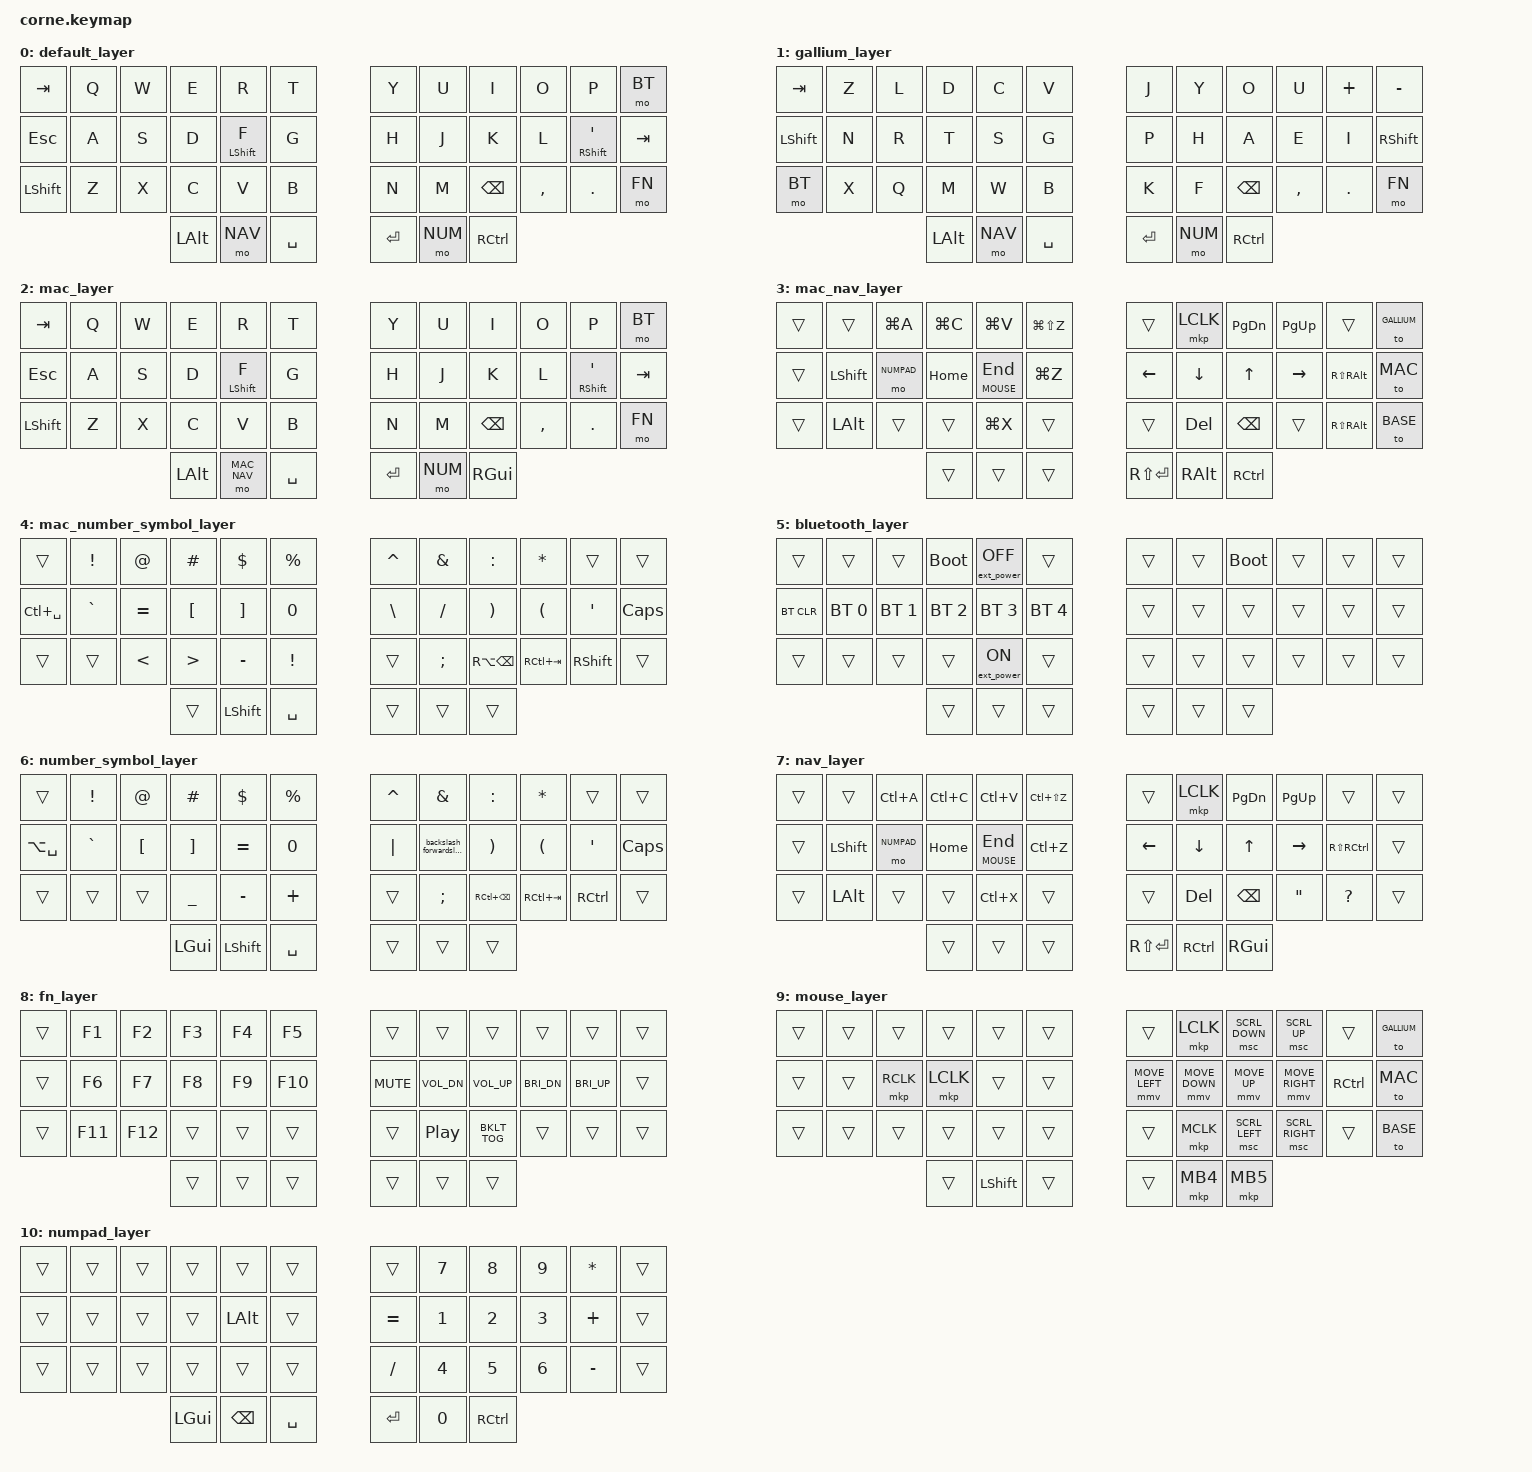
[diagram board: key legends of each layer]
/*
 * Copyright (c) 2020 The ZMK Contributors
 *
 * SPDX-License-Identifier: MIT
 */

#include <behaviors.dtsi>
#include <dt-bindings/zmk/keys.h>
#include <dt-bindings/zmk/bt.h>
#include <dt-bindings/zmk/mouse.h>
#include <dt-bindings/zmk/ext_power.h>

#define ZMK_POINTING_DEFAULT_MOVE_VAL 1000
#define ZMK_POINTING_DEFAULT_SCRL_VAL 20    // default: 10

#include <dt-bindings/zmk/pointing.h>

#define  BASE     0
#define  GALLIUM  1
#define  MAC      2
#define  MAC_NAV  3
#define  MAC_NUM  4
#define  BT       5
#define  NUM      6
#define  NAV      7
#define  FN       8
#define  MOUSE    9
#define  NUMPAD   10


/ {

        behaviors {
                hmt: homerow_mod_tap {
                        compatible = "zmk,behavior-hold-tap";
                        #binding-cells = <2>;
                        flavor = "balanced";
                        tapping-term-ms = <200>;
                        quick-tap-ms = <200>;
                        require-prior-idle-ms = <125>;
                        bindings = <&kp>, <&kp>;
                };
                hmt_layer: homerow_mod_tap_layer {
                        compatible = "zmk,behavior-hold-tap";
                        #binding-cells = <2>;
                        flavor = "hold-preferred";
                        tapping-term-ms = <6666>;
                        quick-tap-ms = <200>;
                        require-prior-idle-ms = <125>;
                        bindings = <&kp>, <&kp>;
                };
                mlt: mouse_layer_tap {
                        compatible = "zmk,behavior-hold-tap";
                        #binding-cells = <2>;
                        flavor = "hold-preferred";
                        tapping-term-ms = <200>;
                        quick-tap-ms = <200>;
                        require-prior-idle-ms = <125>;
                        bindings = <&mo>, <&kp>;
                };


                backslash_forwardslash: backslash_forwardslash {
                    compatible = "zmk,behavior-mod-morph";
                    label = "BACKSLASH_FORWARDSLASH";
                    #binding-cells = <0>;
                    bindings = <&kp FSLH>, <&kp BSLH>;
                    mods = <(MOD_LSFT|MOD_RSFT)>;
                };
                /* dqt_sqt: dqt_sqt { */
                /*         compatible = "zmk,behavior-mod-morph"; */
                /*         label = "DQT_SQT"; */
                /*         #binding-cells = <0>; */
                /*         bindings = <&kp DQT>, <&kp SQT>; */
                /*         mods = <(MOD_LSFT|MOD_RSFT)>; */
                /* }; */
           };
        combos {
            compatible = "zmk,combos";

            esc_combo {
                timeout-ms = <80>;
                key-positions = <27 28>;
                layers = <GALLIUM>;
                bindings = <&kp ESC>;
            };
        };



        keymap {
                compatible = "zmk,keymap";

                default_layer {
                        bindings = <
   &kp TAB   &kp Q &kp W &kp E &kp R        &kp T   &kp Y &kp U  &kp I    &kp O     &kp P          &mo BT
   &kp ESC   &kp A &kp S &kp D &hmt LSHFT F &kp G   &kp H &kp J  &kp K    &kp L     &hmt RSHFT SQT &kp TAB
   &kp LSHFT &kp Z &kp X &kp C &kp V        &kp B   &kp N &kp M  &kp BSPC &kp COMMA &kp DOT        &mo FN
                         &kp LALT &mo NAV &kp SPACE   &kp RET &mo NUM &kp RCTRL
                        >;
                };

                gallium_layer {
                        bindings = <
   &kp TAB   &kp Z &kp L &kp D &kp C &kp V   &kp J &kp Y &kp O    &kp U     &kp PLUS  &kp MINUS
   &kp LSHIFT &kp N &kp R &kp T &kp S &kp G   &kp P &kp H &kp A    &kp E     &kp I    &kp RSHFT
   &mo BT &kp X &kp Q &kp M &kp W &kp B   &kp K &kp F &kp BSPC &kp COMMA &kp DOT  &mo FN
                         &kp LALT &mo NAV &kp SPACE   &kp RET &mo NUM &kp RCTRL
                        >;
                };

                mac_layer {
                        bindings = <
   &kp TAB   &kp Q &kp W &kp E &kp R        &kp T   &kp Y &kp U  &kp I    &kp O     &kp P          &mo BT
   &kp ESC   &kp A &kp S &kp D &hmt LSHFT F &kp G   &kp H &kp J  &kp K    &kp L     &hmt RSHFT SQT &kp TAB
   &kp LSHFT &kp Z &kp X &kp C &kp V        &kp B   &kp N &kp M  &kp BSPC &kp COMMA &kp DOT        &mo FN
                         &kp LALT &mo MAC_NAV &kp SPACE   &kp RET &mo NUM &kp RGUI
                        >;
                };

                mac_nav_layer {
                        bindings = <
   &trans &trans &kp LG(A)  &kp LG(C) &kp LG(V) &kp LG(LS(Z))           &trans &mkp LCLK &kp PG_DN &kp PG_UP &trans &to GALLIUM
   &trans &kp LSHIFT &mo NUMPAD     &kp HOME  &mlt MOUSE END   &kp LG(Z)           &kp LEFT &kp DOWN &kp UP &kp RIGHT &kp RS(RALT) &to MAC
   &trans &kp LALT &trans     &trans    &kp LG(X)  &trans       &trans &kp DELETE &kp BSPC &trans &kp RS(RALT) &to BASE
                         &trans &trans &trans                 &kp RS(RET) &kp RALT &kp RCTRL
                        >;
                };

                mac_number_symbol_layer {
                        bindings = <
   &trans &kp EXCL &kp AT    &kp HASH &kp DLLR &kp PRCNT      &kp CARET &kp AMPS &kp COLON &kp STAR    &trans &trans
   &kp LC(SPACE) &kp GRAVE &kp EQUAL    &kp LBKT &kp RBKT &kp N0      &kp BSLH &kp FSLH &kp RPAR &kp LPAR   &kp SQT &kp CAPSLOCK
   &trans &trans &kp LT &kp GT &kp MINUS &kp EXCL          &trans &kp SEMI   &kp RA(BSPC) &kp RC(TAB) &kp RSHIFT &trans
                                  &trans &kp LSHIFT &kp SPACE   &trans &trans &trans
                        >;
                };

                bluetooth_layer {
                        bindings = <
   &trans     &trans       &trans       &bootloader     &ext_power EP_OFF     &trans       &trans &trans &bootloader &trans &trans &trans
   &bt BT_CLR &bt BT_SEL 0 &bt BT_SEL 1 &bt BT_SEL 2 &bt BT_SEL 3   &bt BT_SEL 4 &trans &trans &trans &trans &trans &trans
   &trans     &trans       &trans       &trans       &ext_power EP_ON   &trans       &trans &trans &trans &trans &trans &trans
                                      &trans &trans &trans   &trans &trans &trans
                        >;
                };

                number_symbol_layer {
                        bindings = <
   &trans &kp EXCL &kp AT    &kp HASH &kp DLLR &kp PRCNT      &kp CARET &kp AMPS &kp COLON &kp STAR    &trans &trans
   &kp LA(SPACE) &kp GRAVE &kp LBKT &kp RBKT &kp EQUAL     &kp N0      &kp PIPE &backslash_forwardslash &kp RPAR &kp LPAR     &kp SQT &kp CAPSLOCK
   &trans &trans &trans &kp UNDER &kp MINUS &kp PLUS          &trans &kp SEMI   &kp RC(BSPC) &kp RC(TAB) &kp RCTRL &trans
                                  &kp LGUI &kp LSHIFT &kp SPACE   &trans &trans &trans
                        >;
                };

                nav_layer {
                        bindings = <
   &trans &trans &kp LC(A)  &kp LC(C) &kp LC(V) &kp LC(LS(Z))           &trans &mkp LCLK &kp PG_DN &kp PG_UP &trans &trans
   &trans &kp LSHIFT &mo NUMPAD     &kp HOME  &mlt MOUSE END   &kp LC(Z)           &kp LEFT &kp DOWN &kp UP &kp RIGHT &kp RS(RCTRL)  &trans
   &trans &kp LALT &trans     &trans    &kp LC(X)  &trans       &trans &kp DELETE &kp BSPC &kp DQT &kp QMARK &trans
                         &trans &trans &trans                 &kp RS(RET) &kp RCTRL &kp RGUI
                        >;
                };

                fn_layer {
                        bindings = <
    &trans    &kp F1    &kp F2    &kp F3    &kp F4    &kp F5      &trans     &trans       &trans       &trans       &trans       &trans
    &trans    &kp F6    &kp F7    &kp F8    &kp F9    &kp F10     &kp C_MUTE &kp C_VOL_DN &kp C_VOL_UP &kp C_BRI_DN &kp C_BRI_UP &trans
    &trans    &kp F11   &kp F12   &trans    &trans    &trans      &trans     &kp C_PLAY_PAUSE    &kp C_BKLT_TOG       &trans       &trans       &trans
                                  &trans    &trans    &trans      &trans     &trans       &trans
                        >;
                };

                mouse_layer {
                        bindings = <
   &trans &trans &trans &trans &trans &trans            &trans &mkp LCLK &msc SCRL_DOWN &msc SCRL_UP &trans &to GALLIUM
   &trans &trans &mkp RCLK &mkp LCLK &trans &trans      &mmv MOVE_LEFT &mmv MOVE_DOWN &mmv MOVE_UP &mmv MOVE_RIGHT &kp RCTRL &to MAC
   &trans &trans &trans &trans &trans &trans            &trans  &mkp MCLK &msc SCRL_LEFT &msc SCRL_RIGHT &trans &to BASE
                         &trans &kp LSHIFT &trans           &trans &mkp MB4 &mkp MB5
                        >;
                };

                numpad_layer {
                        bindings = <
   &trans &trans &trans &trans &trans &trans      &trans &kp N7 &kp N8 &kp N9 &kp ASTERISK &trans
   &trans &trans &trans &trans &kp LALT &trans      &kp EQUAL &kp N1 &kp N2 &kp N3 &kp PLUS &trans
   &trans &trans &trans &trans &trans &trans      &kp FSLH &kp N4 &kp N5 &kp N6 &kp MINUS &trans
                         &kp LGUI &kp BSPC &kp SPACE     &kp RET &kp N0 &kp RCTRL
                        >;
                };
        };

};

&mmv {
    time-to-max-speed-ms = <150>;
    acceleration-exponent = <2>;
};

&mmv {
    time-to-max-speed-ms = <150>;
    acceleration-exponent = <2>;
};




